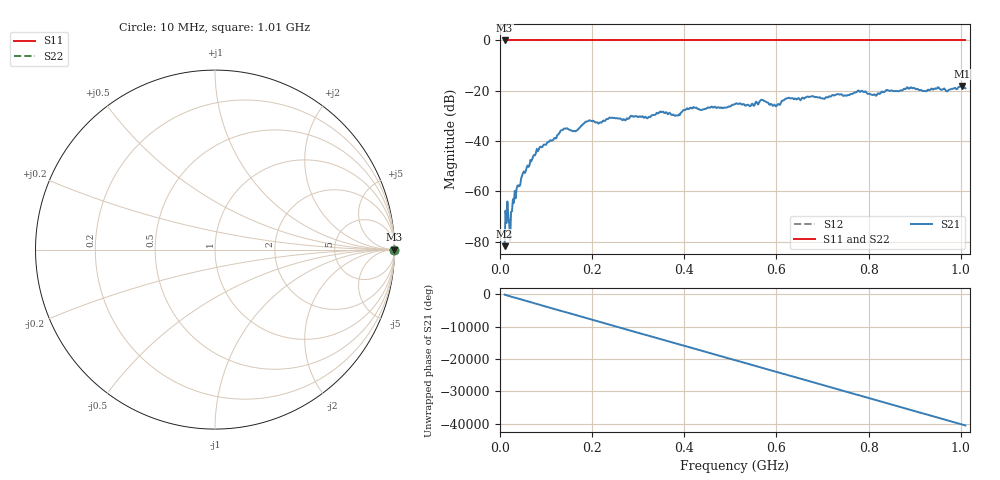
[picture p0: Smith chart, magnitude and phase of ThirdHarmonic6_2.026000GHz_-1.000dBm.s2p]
! 8/17/2025 12:19:01 AM
! C:\ANRITSUVNA\TEMP\TEMP.S2P
! CHANNEL.1
! TR.MEASUREMENT
! RAW.DATA
! RF.CORRECTION.OFF
! AVERAGING.OFF
! IF.BANDWIDTH: 5KHZ
! SWEEPTYPE:  FREQ.SWEEP(Linear)
! Reference Plane Port Info
! PORT:  PORT1  PORT2
! DISTANCE:  0  m  0  m
! TIME:  0  s  0  s
! PHASE.OFFSET:  0  deg.  0  deg.
! LOSS:  0  dB  0  dB
! REF.LOSS:  0  dB  0  dB
! REF.FREQ:  0  Hz  0  Hz
! Power Info
! POWER:  -20  dBm  -20  dBm
! EFF.POWER:  -20  dBm  -20  dBm
! SOURCE.ATTEN:  0  dB  0  dB
! TEST.ATTEN:  0  dB  0  dB
# GHZ S RI R 50.0
! FREQ.GHZ  S11RE  S11IM  S21RE  S21IM  S12RE  S12IM  S22RE  S22IM
!; PortSelection: Port_12
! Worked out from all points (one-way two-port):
!   501 points, 10 MHz to 1.01 GHz, reference 50 ohm
!   highest |S21| = -18.08 dB at 1.002 GHz (marker M1); lowest = -81.8 dB at 10 MHz (marker M2)
!   lowest |S11| = 0.0 dB at 10 MHz (marker M3)
!   |S11| at or under -10 dB: nowhere
!   |S22| runs from 0.0 to 0.0 dB; largest |S21 - S12| = 1.1
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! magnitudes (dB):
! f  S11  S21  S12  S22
! 10 MHz  0.0  -81.8  0.0  0.0
! 16 MHz  0.0  -64.0  0.0  0.0
! 18 MHz  0.0  -69.7  0.0  0.0
! 22 MHz  0.0  -79.4  0.0  0.0
! 26 MHz  0.0  -68.0  0.0  0.0
! 28 MHz  0.0  -63.1  0.0  0.0
! 36 MHz  0.0  -59.0  0.0  0.0
! 76 MHz  0.0  -45.7  0.0  0.0
! 136 MHz  0.0  -35.6  0.0  0.0
! 162 MHz  0.0  -36.0  0.0  0.0
! 178 MHz  0.0  -33.8  0.0  0.0
! 344 MHz  0.0  -29.0  0.0  0.0
! 382 MHz  0.0  -29.8  0.0  0.0
! 416 MHz  0.0  -27.1  0.0  0.0
! 510 MHz  0.0  -25.3  0.0  0.0
! 570 MHz  0.0  -23.6  0.0  0.0
! 596 MHz  0.0  -25.5  0.0  0.0
! 624 MHz  0.0  -23.0  0.0  0.0
! 678 MHz  0.0  -22.1  0.0  0.0
! 844 MHz  0.0  -20.0  0.0  0.0
! 1.002 GHz  0.0  -18.1  0.0  0.0
! 1.01 GHz  0.0  -19.0  0.0  0.0
